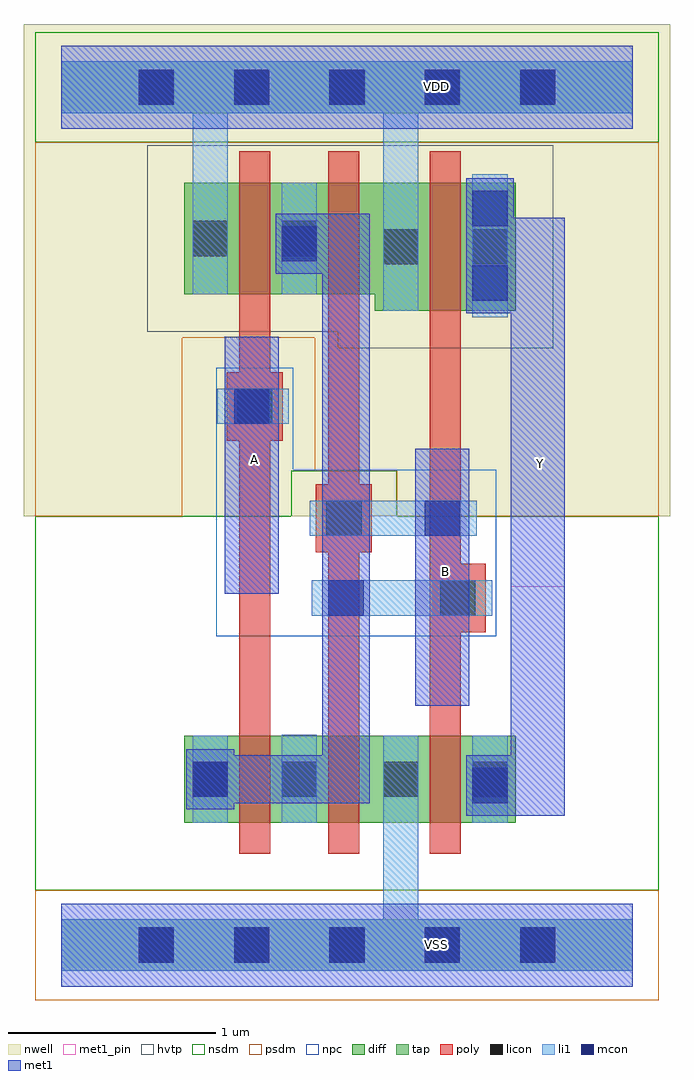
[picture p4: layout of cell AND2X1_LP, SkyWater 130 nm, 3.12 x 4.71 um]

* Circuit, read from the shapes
.subckt AND2X1_LP A B VDD VSS Y
XM1 n1 A n2 VSS sky130_fd_pr__nfet_01v8 w=0.42 l=0.15
XM2 VSS B n1 VSS sky130_fd_pr__nfet_01v8 w=0.42 l=0.15
XM3 Y n2 VSS VSS sky130_fd_pr__nfet_01v8 w=0.42 l=0.15
XM4 n2 A VDD VDD sky130_fd_pr__pfet_01v8_hvt w=0.54 l=0.15
XM5 VDD B n2 VDD sky130_fd_pr__pfet_01v8_hvt w=0.54 l=0.15
XM6 Y n2 VDD VDD sky130_fd_pr__pfet_01v8_hvt w=0.62 l=0.15
.ends

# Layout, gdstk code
from math import pi, radians
import gdstk
lib = gdstk.Library(unit=1e-6, precision=1e-09)
def R(c, l, rs):  # rectangles x0, y0, x1, y1
    for r in rs: c.add(gdstk.rectangle(r[:2], r[2:], *l))
def A(c, l, x, y, w, h, nx, ny, dx, dy):  # array of equal rectangles
    R(c, l, [(x+i*dx, y+j*dy, x+i*dx+w, y+j*dy+h) for i in range(nx) for j in range(ny)])
def P(c, l, *ps):  # polygons
    for p in ps: c.add(gdstk.Polygon(p, *l))
nwell = (64, 20)
diff = (65, 20)
tap = (65, 44)
poly = (66, 20)
licon = (66, 44)
li1 = (67, 20)
mcon = (67, 44)
met1_pin = (68, 16)
met1 = (68, 20)
hvtp = (78, 44)
nsdm = (93, 44)
psdm = (94, 20)
npc = (95, 20)

l1m1_c__22_0 = lib.new_cell('L1M1_C$$22_0')
R(l1m1_c__22_0, li1, [(-0.085,-0.345,0.085,0.345)])
R(l1m1_c__22_0, mcon, [(-0.085,-0.265,0.085,-0.095), (-0.085,0.095,0.085,0.265)])
R(l1m1_c__22_0, met1, [(-0.115,-0.325,0.115,0.325)])

pyl1con_c__14 = lib.new_cell('PYL1CON_C$$14')
R(pyl1con_c__14, poly, [(-0.135,-0.165,0.135,0.165)])
R(pyl1con_c__14, licon, [(-0.085,-0.085,0.085,0.085)])
R(pyl1con_c__14, npc, [(-0.185,-0.185,0.185,0.185)])

lilicon_c__23 = lib.new_cell('LILICON_C$$23')
R(lilicon_c__23, licon, [(-0.085,-0.085,0.085,0.085), (-0.085,-0.085,0.085,0.085)])
R(lilicon_c__23, li1, [(-0.085,-0.165,0.085,0.165)])

l1m1_c__20 = lib.new_cell('L1M1_C$$20')
R(l1m1_c__20, li1, [(-0.165,-0.085,0.165,0.085)])
R(l1m1_c__20, mcon, [(-0.085,-0.085,0.085,0.085)])
R(l1m1_c__20, met1, [(-0.115,-0.145,0.115,0.145)])

l1m1_c__19 = lib.new_cell('L1M1_C$$19')
R(l1m1_c__19, li1, [(-0.085,-0.165,0.085,0.165)])
R(l1m1_c__19, mcon, [(-0.085,-0.085,0.085,0.085)])
R(l1m1_c__19, met1, [(-0.115,-0.145,0.115,0.145)])

licondiff_c__13 = lib.new_cell('LICONDIFF_C$$13')
R(licondiff_c__13, diff, [(-0.125,-0.145,0.125,0.145)])
R(licondiff_c__13, licon, [(-0.085,-0.085,0.085,0.085), (-0.085,-0.085,0.085,0.085)])

and2x1_lp = lib.new_cell('AND2X1_LP')
R(and2x1_lp, nwell, [(-0.18,2.07,2.94,4.445)])
R(and2x1_lp, diff, [(0.595,0.59,2.195,1.01)])
P(and2x1_lp, diff, [(2.195,3.68),(0.595,3.68),(0.595,3.14),(1.515,3.14),(1.515,3.06),(2.195,3.06)])
R(and2x1_lp, poly, [(0.86,0.44,1.01,3.83), (1.29,0.44,1.44,3.83), (1.78,0.44,1.93,3.83)])
A(and2x1_lp, licon, 0.375, -0.085, 0.17, 0.17, 5, 2, 0.46, 4.14)
R(and2x1_lp, licon, [(0.635,0.715,0.805,0.885), (1.065,0.715,1.235,0.885), (1.555,0.715,1.725,0.885), (1.985,0.715,2.155,0.885), (1.555,3.285,1.725,3.455), (1.985,3.285,2.155,3.455), (0.635,3.325,0.805,3.495), (1.065,3.325,1.235,3.495)])
R(and2x1_lp, li1, [(0.635,0.59,0.805,1.01), (1.065,0.59,1.235,1.015), (1.985,0.59,2.155,1.01), (1.985,3.06,2.155,3.68), (1.065,3.14,1.235,3.68)])
P(and2x1_lp, li1, [(2.76,0.125),(1.725,0.125),(1.725,1.01),(1.555,1.01),(1.555,0.125),(0,0.125),(0,-0.125),(2.76,-0.125)],
  [(2.76,4.265),(0,4.265),(0,4.015),(0.635,4.015),(0.635,3.14),(0.805,3.14),(0.805,4.015),(1.555,4.015),(1.555,3.06),(1.725,3.06),(1.725,4.015),(2.76,4.015)])
A(and2x1_lp, mcon, 0.375, -0.085, 0.17, 0.17, 5, 2, 0.46, 4.14)
R(and2x1_lp, met1_pin, [(1.71,1.155,1.97,2.395), (0.79,1.695,1.05,2.935), (2.17,1.73,2.43,3.51)])
P(and2x1_lp, met1, [(1.49,3.53),(1.035,3.53),(1.035,3.3),(1.15,3.3),(1.15,3.24),(1.26,3.24),(1.26,0.915),(0.72,0.915),(0.72,0.685),(1.49,0.685)])
P(and2x1_lp, hvtp, [(2.375,3.86),(0.415,3.86),(0.415,2.96),(1.335,2.96),(1.335,2.88),(2.375,2.88)])
R(and2x1_lp, nsdm, [(-0.125,3.875,2.885,4.405)])
P(and2x1_lp, nsdm, [(2.885,2.07),(1.62,2.07),(1.62,2.29),(1.11,2.29),(1.11,2.07),(-0.125,2.07),(-0.125,0.265),(2.885,0.265)])
R(and2x1_lp, psdm, [(-0.125,-0.265,2.885,0.265)])
P(and2x1_lp, psdm, [(2.885,3.875),(-0.125,3.875),(-0.125,2.07),(0.585,2.07),(0.585,2.93),(1.225,2.93),(1.225,2.29),(1.62,2.29),(1.62,2.07),(2.885,2.07)])
P(and2x1_lp, npc, [(2.1,2.295),(1.12,2.295),(1.12,2.785),(0.75,2.785),(0.75,1.49),(2.1,1.49)])
and2x1_lp.add(gdstk.FlexPath([(1.375,1.675),(1.915,1.675)], 0.17, ends="flush", simple_path=True, layer=67, datatype=20))  # li1
and2x1_lp.add(gdstk.FlexPath([(1.2,2.06),(1.84,2.06)], 0.17, ends="flush", simple_path=True, layer=67, datatype=20))  # li1
and2x1_lp.add(gdstk.FlexPath([(0.755,2.6),(1.1,2.6)], 0.17, ends="flush", simple_path=True, layer=67, datatype=20))  # li1
and2x1_lp.add(gdstk.FlexPath([(0,0),(2.76,0)], 0.4, ends="flush", simple_path=True, layer=68, datatype=16))  # met1_pin
and2x1_lp.add(gdstk.FlexPath([(0,4.14),(2.76,4.14)], 0.4, ends="flush", simple_path=True, layer=68, datatype=16))  # met1_pin
and2x1_lp.add(gdstk.FlexPath([(0,0),(2.76,0)], 0.25, ends="flush", simple_path=True, layer=65, datatype=44))  # tap
and2x1_lp.add(gdstk.FlexPath([(0,4.14),(2.76,4.14)], 0.25, ends="flush", simple_path=True, layer=65, datatype=44))  # tap
and2x1_lp.add(gdstk.FlexPath([(0,0),(2.76,0)], 0.4, ends="flush", simple_path=True, layer=68, datatype=20))  # met1
and2x1_lp.add(gdstk.FlexPath([(0.92,2.935),(0.92,1.695)], 0.26, ends="flush", simple_path=True, layer=68, datatype=20))  # met1
and2x1_lp.add(gdstk.FlexPath([(1.84,2.395),(1.84,1.155)], 0.26, ends="flush", simple_path=True, layer=68, datatype=20))  # met1
and2x1_lp.add(gdstk.FlexPath([(1.955,3.38),(2.3,3.38),(2.3,0.755),(2.155,0.755)], 0.26, ends="flush", simple_path=True, layer=68, datatype=20))  # met1
and2x1_lp.add(gdstk.FlexPath([(0,4.14),(2.76,4.14)], 0.4, ends="flush", simple_path=True, layer=68, datatype=20))  # met1
and2x1_lp.add(gdstk.Reference(l1m1_c__22_0, (2.07,3.375)))
and2x1_lp.add(gdstk.Reference(pyl1con_c__14, (0.935,2.6), rotation=pi, x_reflection=True))
and2x1_lp.add(gdstk.Reference(pyl1con_c__14, (1.365,2.06), rotation=pi, x_reflection=True))
and2x1_lp.add(gdstk.Reference(pyl1con_c__14, (1.915,1.675)))
and2x1_lp.add(gdstk.Reference(lilicon_c__23, (1.915,1.675), rotation=pi/2))
and2x1_lp.add(gdstk.Reference(l1m1_c__20, (1.84,2.06)))
and2x1_lp.add(gdstk.Reference(l1m1_c__20, (0.92,2.6)))
and2x1_lp.add(gdstk.Reference(l1m1_c__20, (1.375,1.675), rotation=pi, x_reflection=True))
and2x1_lp.add(gdstk.Reference(l1m1_c__19, (1.15,3.385)))
and2x1_lp.add(gdstk.Reference(l1m1_c__19, (0.72,0.8)))
and2x1_lp.add(gdstk.Reference(l1m1_c__19, (2.07,0.77)))
and2x1_lp.add(gdstk.Reference(licondiff_c__13, (1.15,0.8)))
and2x1_lp.add(gdstk.Label('A', (0.935,2.345), layer=68, texttype=5))
and2x1_lp.add(gdstk.Label('Y', (2.315,2.325), layer=68, texttype=5))
and2x1_lp.add(gdstk.Label('VDD', (1.81,4.145), layer=68, texttype=5))
and2x1_lp.add(gdstk.Label('B', (1.855,1.805), layer=68, texttype=5))
and2x1_lp.add(gdstk.Label('VSS', (1.81,0.005), layer=68, texttype=5))

lib.write_gds('AND2X1_LP.gds')
